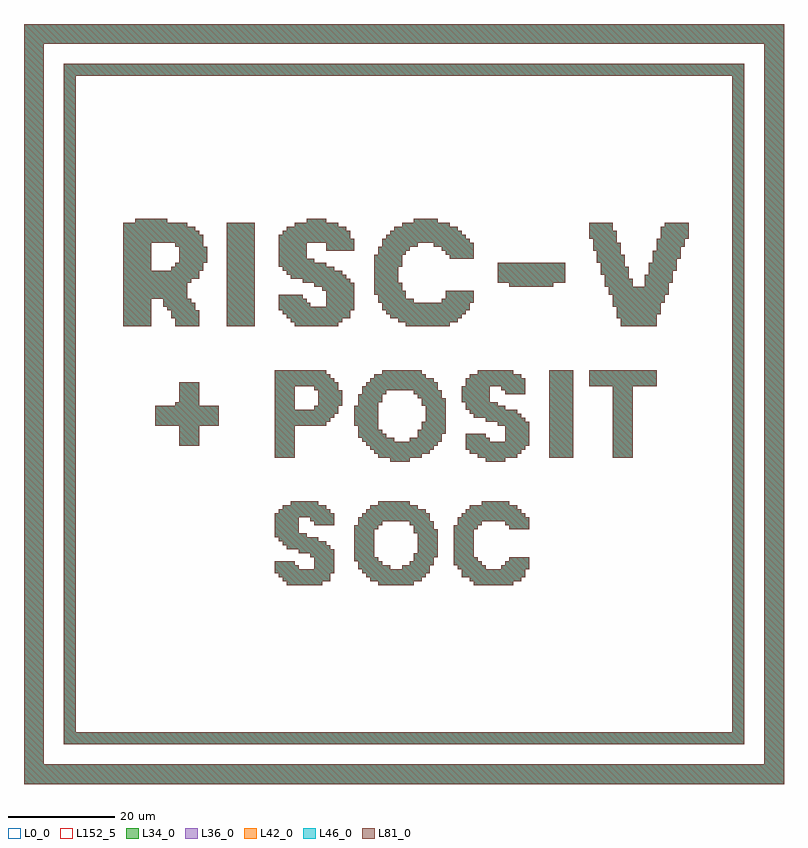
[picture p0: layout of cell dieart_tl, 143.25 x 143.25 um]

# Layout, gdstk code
import gdstk
lib = gdstk.Library(unit=1e-6, precision=1e-09)
def R(c, l, rs):  # rectangles x0, y0, x1, y1
    for r in rs: c.add(gdstk.rectangle(r[:2], r[2:], *l))
def A(c, l, x, y, w, h, nx, ny, dx, dy):  # array of equal rectangles
    R(c, l, [(x+i*dx, y+j*dy, x+i*dx+w, y+j*dy+h) for i in range(nx) for j in range(ny)])
L0_0 = (0, 0)
L34_0 = (34, 0)
L36_0 = (36, 0)
L42_0 = (42, 0)
L46_0 = (46, 0)
L81_0 = (81, 0)
L152_5 = (152, 5)

dieart_tl = lib.new_cell('dieart_tl')
R(dieart_tl, L0_0, [(0,0,143.25,143.25)])
A(dieart_tl, L34_0, 72.75, 48.75, 4.5, 0.75, 3, 1, 9, 0)
R(dieart_tl, L34_0, [(0,0,143.25,3.75), (0,3.75,3.75,139.5), (139.5,3.75,143.25,139.5), (7.5,7.5,135.75,9.75), (7.5,9.75,9.75,133.5), (133.5,9.75,135.75,133.5), (49.5,37.5,56.25,38.25), (66.75,37.5,73.5,38.25), (84.75,37.5,92.25,38.25), (48.75,38.25,57.75,39), (65.25,38.25,75,39), (84,38.25,93.75,39), (48,39,57.75,39.75), (64.5,39,75.75,39.75), (82.5,39,94.5,40.5), (47.25,39.75,58.5,40.5), (63.75,39.75,76.5,40.5), (47.25,40.5,51.75,41.25), (54.75,40.5,58.5,42.75), (63,40.5,69,41.25), (71.25,40.5,76.5,41.25), (81.75,40.5,87,41.25), (90,40.5,95.25,41.25), (47.25,41.25,51,42), (63,41.25,67.5,42), (72.75,41.25,77.25,42), (81,41.25,86.25,42), (90.75,41.25,95.25,42), (62.25,42,66.75,42.75), (73.5,42,77.25,42.75), (81,42,85.5,42.75), (91.5,42,95.25,42.75), (54,42.75,58.5,43.5), (62.25,42.75,66,48), (73.5,42.75,78,43.5), (81,42.75,84.75,48), (51.75,43.5,58.5,44.25), (74.25,43.5,78,47.25), (49.5,44.25,57.75,45), (48.75,45,57,45.75), (48,45.75,55.5,46.5), (47.25,46.5,53.25,47.25), (47.25,47.25,51.75,50.25), (73.5,47.25,78,48), (62.25,48,66.75,48.75), (73.5,48,77.25,48.75), (81,48,85.5,48.75), (91.5,48,95.25,48.75), (54.75,48.75,58.5,49.5), (63,48.75,67.5,49.5), (54,49.5,58.5,50.25), (63,49.5,76.5,50.25), (81.75,49.5,95.25,50.25), (47.25,50.25,58.5,51), (63.75,50.25,76.5,51), (82.5,50.25,94.5,51), (48,51,57.75,51.75), (64.5,51,75.75,51.75), (83.25,51,93.75,51.75), (48.75,51.75,57,52.5), (65.25,51.75,74.25,52.5), (84,51.75,93,52.5), (50.25,52.5,55.5,53.25), (66.75,52.5,72.75,53.25), (86.25,52.5,91.5,53.25), (69,60.75,72.75,61.5), (87,60.75,90.75,61.5), (47.25,61.5,51,67.5), (66.75,61.5,75,62.25), (85.5,61.5,93,62.25), (99,61.5,103.5,78), (111,61.5,114.75,75), (66,62.25,76.5,63), (84,62.25,93.75,63), (65.25,63,77.25,63.75), (83.25,63,94.5,63.75), (29.25,63.75,33,67.5), (64.5,63.75,78,64.5), (83.25,63.75,95.25,64.5), (63.75,64.5,69.75,65.25), (72.75,64.5,78.75,65.25), (83.25,64.5,87.75,65.25), (90.75,64.5,95.25,67.5), (63,65.25,68.25,66), (74.25,65.25,78.75,66), (83.25,65.25,87,66), (63,66,67.5,66.75), (74.25,66,79.5,66.75), (63,66.75,66.75,67.5), (75,66.75,79.5,68.25), (24.75,67.5,36.75,71.25), (47.25,67.5,57,68.25), (62.25,67.5,66.75,71.25), (89.25,67.5,95.25,68.25), (47.25,68.25,57.75,69), (75.75,68.25,79.5,71.25), (87,68.25,94.5,69), (47.25,69,58.5,69.75), (84.75,69,93.75,69.75), (47.25,69.75,59.25,70.5), (84,69.75,93,70.5), (47.25,70.5,51,75), (54.75,70.5,59.25,71.25), (83.25,70.5,90.75,71.25), (28.5,71.25,33,72), (55.5,71.25,60,74.25), (63,71.25,66.75,72), (75,71.25,79.5,72.75), (83.25,71.25,89.25,72), (29.25,72,33,75.75), (63,72,67.5,73.5), (82.5,72,87.75,75), (74.25,72.75,78.75,73.5), (63.75,73.5,68.25,74.25), (73.5,73.5,78.75,74.25), (90.75,73.5,94.5,74.25), (54.75,74.25,59.25,75), (63.75,74.25,78,75), (90,74.25,94.5,75), (47.25,75,59.25,75.75), (64.5,75,78,75.75), (83.25,75,94.5,76.5), (106.5,75,119.25,78), (47.25,75.75,58.5,76.5), (65.25,75.75,77.25,76.5), (47.25,76.5,57.75,77.25), (66,76.5,75.75,77.25), (84,76.5,93.75,77.25), (47.25,77.25,57,78), (67.5,77.25,75,78), (85.5,77.25,92.25,78), (18.75,86.25,24,91.5), (28.5,86.25,33,87.75), (38.25,86.25,43.5,105.75), (51,86.25,59.25,87), (72,86.25,80.25,87), (112.5,86.25,119.25,87.75), (50.25,87,60,87.75), (70.5,87,81.75,87.75), (27.75,87.75,33,89.25), (49.5,87.75,61.5,88.5), (69,87.75,82.5,88.5), (111.75,87.75,119.25,88.5), (48.75,88.5,61.5,89.25), (68.25,88.5,83.25,89.25), (111.75,88.5,120,90), (27,89.25,32.25,90), (48,89.25,62.25,90), (67.5,89.25,84,90.75), (26.25,90,32.25,90.75), (48,90,54,90.75), (57,90,62.25,93), (111,90,120,90.75), (26.25,90.75,31.5,91.5), (48,90.75,53.25,91.5), (66.75,90.75,73.5,91.5), (78.75,90.75,84.75,91.5), (111,90.75,120.75,92.25), (18.75,91.5,30.75,94.5), (48,91.5,52.5,92.25), (66.75,91.5,72,92.25), (79.5,91.5,84.75,93), (66,92.25,72,93), (110.25,92.25,121.5,93.75), (56.25,93,62.25,93.75), (66,93,71.25,94.5), (54.75,93.75,62.25,94.5), (91.5,93.75,99.75,94.5), (109.5,93.75,114.75,95.25), (117,93.75,121.5,94.5), (18.75,94.5,31.5,95.25), (52.5,94.5,61.5,95.25), (66,94.5,70.5,97.5), (89.25,94.5,102,98.25), (117,94.5,122.25,96), (18.75,95.25,33,96.75), (50.25,95.25,60.75,96), (109.5,95.25,114,96), (49.5,96,60,96.75), (108.75,96,114,97.5), (117.75,96,122.25,96.75), (18.75,96.75,24,102), (27.75,96.75,33.75,97.5), (48.75,96.75,58.5,97.5), (117.75,96.75,123,98.25), (28.5,97.5,33.75,98.25), (48,97.5,57,98.25), (66,97.5,71.25,99.75), (108.75,97.5,113.25,98.25), (29.25,98.25,34.5,101.25), (48,98.25,54.75,99), (108,98.25,113.25,99.75), (118.5,98.25,123,99), (48,99,53.25,102), (80.25,99,84.75,99.75), (118.5,99,123.75,100.5), (66.75,99.75,72,100.5), (79.5,99.75,84.75,100.5), (108,99.75,112.5,100.5), (57,100.5,62.25,102), (66.75,100.5,72.75,101.25), (78.75,100.5,84.75,101.25), (107.25,100.5,112.5,102), (119.25,100.5,123.75,101.25), (28.5,101.25,33.75,102), (67.5,101.25,74.25,102), (77.25,101.25,84.75,102), (119.25,101.25,124.5,102.75), (18.75,102,33.75,103.5), (48,102,62.25,102.75), (67.5,102,84,102.75), (107.25,102,111.75,102.75), (48,102.75,61.5,103.5), (68.25,102.75,83.25,103.5), (106.5,102.75,111.75,104.25), (120,102.75,125.25,105), (18.75,103.5,33,104.25), (48.75,103.5,61.5,104.25), (69,103.5,82.5,104.25), (18.75,104.25,32.25,105), (49.5,104.25,60.75,105), (69.75,104.25,81.75,105), (106.5,104.25,111,105.75), (18.75,105,30.75,105.75), (51,105,59.25,105.75), (71.25,105,80.25,105.75), (120.75,105,125.25,105.75), (21,105.75,27,106.5), (53.25,105.75,57,106.5), (73.5,105.75,78,106.5), (7.5,133.5,135.75,135.75), (0,139.5,143.25,143.25)])
A(dieart_tl, L36_0, 72.75, 48.75, 4.5, 0.75, 3, 1, 9, 0)
R(dieart_tl, L36_0, [(0,0,143.25,3.75), (0,3.75,3.75,139.5), (139.5,3.75,143.25,139.5), (7.5,7.5,135.75,9.75), (7.5,9.75,9.75,133.5), (133.5,9.75,135.75,133.5), (49.5,37.5,56.25,38.25), (66.75,37.5,73.5,38.25), (84.75,37.5,92.25,38.25), (48.75,38.25,57.75,39), (65.25,38.25,75,39), (84,38.25,93.75,39), (48,39,57.75,39.75), (64.5,39,75.75,39.75), (82.5,39,94.5,40.5), (47.25,39.75,58.5,40.5), (63.75,39.75,76.5,40.5), (47.25,40.5,51.75,41.25), (54.75,40.5,58.5,42.75), (63,40.5,69,41.25), (71.25,40.5,76.5,41.25), (81.75,40.5,87,41.25), (90,40.5,95.25,41.25), (47.25,41.25,51,42), (63,41.25,67.5,42), (72.75,41.25,77.25,42), (81,41.25,86.25,42), (90.75,41.25,95.25,42), (62.25,42,66.75,42.75), (73.5,42,77.25,42.75), (81,42,85.5,42.75), (91.5,42,95.25,42.75), (54,42.75,58.5,43.5), (62.25,42.75,66,48), (73.5,42.75,78,43.5), (81,42.75,84.75,48), (51.75,43.5,58.5,44.25), (74.25,43.5,78,47.25), (49.5,44.25,57.75,45), (48.75,45,57,45.75), (48,45.75,55.5,46.5), (47.25,46.5,53.25,47.25), (47.25,47.25,51.75,50.25), (73.5,47.25,78,48), (62.25,48,66.75,48.75), (73.5,48,77.25,48.75), (81,48,85.5,48.75), (91.5,48,95.25,48.75), (54.75,48.75,58.5,49.5), (63,48.75,67.5,49.5), (54,49.5,58.5,50.25), (63,49.5,76.5,50.25), (81.75,49.5,95.25,50.25), (47.25,50.25,58.5,51), (63.75,50.25,76.5,51), (82.5,50.25,94.5,51), (48,51,57.75,51.75), (64.5,51,75.75,51.75), (83.25,51,93.75,51.75), (48.75,51.75,57,52.5), (65.25,51.75,74.25,52.5), (84,51.75,93,52.5), (50.25,52.5,55.5,53.25), (66.75,52.5,72.75,53.25), (86.25,52.5,91.5,53.25), (69,60.75,72.75,61.5), (87,60.75,90.75,61.5), (47.25,61.5,51,67.5), (66.75,61.5,75,62.25), (85.5,61.5,93,62.25), (99,61.5,103.5,78), (111,61.5,114.75,75), (66,62.25,76.5,63), (84,62.25,93.75,63), (65.25,63,77.25,63.75), (83.25,63,94.5,63.75), (29.25,63.75,33,67.5), (64.5,63.75,78,64.5), (83.25,63.75,95.25,64.5), (63.75,64.5,69.75,65.25), (72.75,64.5,78.75,65.25), (83.25,64.5,87.75,65.25), (90.75,64.5,95.25,67.5), (63,65.25,68.25,66), (74.25,65.25,78.75,66), (83.25,65.25,87,66), (63,66,67.5,66.75), (74.25,66,79.5,66.75), (63,66.75,66.75,67.5), (75,66.75,79.5,68.25), (24.75,67.5,36.75,71.25), (47.25,67.5,57,68.25), (62.25,67.5,66.75,71.25), (89.25,67.5,95.25,68.25), (47.25,68.25,57.75,69), (75.75,68.25,79.5,71.25), (87,68.25,94.5,69), (47.25,69,58.5,69.75), (84.75,69,93.75,69.75), (47.25,69.75,59.25,70.5), (84,69.75,93,70.5), (47.25,70.5,51,75), (54.75,70.5,59.25,71.25), (83.25,70.5,90.75,71.25), (28.5,71.25,33,72), (55.5,71.25,60,74.25), (63,71.25,66.75,72), (75,71.25,79.5,72.75), (83.25,71.25,89.25,72), (29.25,72,33,75.75), (63,72,67.5,73.5), (82.5,72,87.75,75), (74.25,72.75,78.75,73.5), (63.75,73.5,68.25,74.25), (73.5,73.5,78.75,74.25), (90.75,73.5,94.5,74.25), (54.75,74.25,59.25,75), (63.75,74.25,78,75), (90,74.25,94.5,75), (47.25,75,59.25,75.75), (64.5,75,78,75.75), (83.25,75,94.5,76.5), (106.5,75,119.25,78), (47.25,75.75,58.5,76.5), (65.25,75.75,77.25,76.5), (47.25,76.5,57.75,77.25), (66,76.5,75.75,77.25), (84,76.5,93.75,77.25), (47.25,77.25,57,78), (67.5,77.25,75,78), (85.5,77.25,92.25,78), (18.75,86.25,24,91.5), (28.5,86.25,33,87.75), (38.25,86.25,43.5,105.75), (51,86.25,59.25,87), (72,86.25,80.25,87), (112.5,86.25,119.25,87.75), (50.25,87,60,87.75), (70.5,87,81.75,87.75), (27.75,87.75,33,89.25), (49.5,87.75,61.5,88.5), (69,87.75,82.5,88.5), (111.75,87.75,119.25,88.5), (48.75,88.5,61.5,89.25), (68.25,88.5,83.25,89.25), (111.75,88.5,120,90), (27,89.25,32.25,90), (48,89.25,62.25,90), (67.5,89.25,84,90.75), (26.25,90,32.25,90.75), (48,90,54,90.75), (57,90,62.25,93), (111,90,120,90.75), (26.25,90.75,31.5,91.5), (48,90.75,53.25,91.5), (66.75,90.75,73.5,91.5), (78.75,90.75,84.75,91.5), (111,90.75,120.75,92.25), (18.75,91.5,30.75,94.5), (48,91.5,52.5,92.25), (66.75,91.5,72,92.25), (79.5,91.5,84.75,93), (66,92.25,72,93), (110.25,92.25,121.5,93.75), (56.25,93,62.25,93.75), (66,93,71.25,94.5), (54.75,93.75,62.25,94.5), (91.5,93.75,99.75,94.5), (109.5,93.75,114.75,95.25), (117,93.75,121.5,94.5), (18.75,94.5,31.5,95.25), (52.5,94.5,61.5,95.25), (66,94.5,70.5,97.5), (89.25,94.5,102,98.25), (117,94.5,122.25,96), (18.75,95.25,33,96.75), (50.25,95.25,60.75,96), (109.5,95.25,114,96), (49.5,96,60,96.75), (108.75,96,114,97.5), (117.75,96,122.25,96.75), (18.75,96.75,24,102), (27.75,96.75,33.75,97.5), (48.75,96.75,58.5,97.5), (117.75,96.75,123,98.25), (28.5,97.5,33.75,98.25), (48,97.5,57,98.25), (66,97.5,71.25,99.75), (108.75,97.5,113.25,98.25), (29.25,98.25,34.5,101.25), (48,98.25,54.75,99), (108,98.25,113.25,99.75), (118.5,98.25,123,99), (48,99,53.25,102), (80.25,99,84.75,99.75), (118.5,99,123.75,100.5), (66.75,99.75,72,100.5), (79.5,99.75,84.75,100.5), (108,99.75,112.5,100.5), (57,100.5,62.25,102), (66.75,100.5,72.75,101.25), (78.75,100.5,84.75,101.25), (107.25,100.5,112.5,102), (119.25,100.5,123.75,101.25), (28.5,101.25,33.75,102), (67.5,101.25,74.25,102), (77.25,101.25,84.75,102), (119.25,101.25,124.5,102.75), (18.75,102,33.75,103.5), (48,102,62.25,102.75), (67.5,102,84,102.75), (107.25,102,111.75,102.75), (48,102.75,61.5,103.5), (68.25,102.75,83.25,103.5), (106.5,102.75,111.75,104.25), (120,102.75,125.25,105), (18.75,103.5,33,104.25), (48.75,103.5,61.5,104.25), (69,103.5,82.5,104.25), (18.75,104.25,32.25,105), (49.5,104.25,60.75,105), (69.75,104.25,81.75,105), (106.5,104.25,111,105.75), (18.75,105,30.75,105.75), (51,105,59.25,105.75), (71.25,105,80.25,105.75), (120.75,105,125.25,105.75), (21,105.75,27,106.5), (53.25,105.75,57,106.5), (73.5,105.75,78,106.5), (7.5,133.5,135.75,135.75), (0,139.5,143.25,143.25)])
A(dieart_tl, L42_0, 72.75, 48.75, 4.5, 0.75, 3, 1, 9, 0)
R(dieart_tl, L42_0, [(0,0,143.25,3.75), (0,3.75,3.75,139.5), (139.5,3.75,143.25,139.5), (7.5,7.5,135.75,9.75), (7.5,9.75,9.75,133.5), (133.5,9.75,135.75,133.5), (49.5,37.5,56.25,38.25), (66.75,37.5,73.5,38.25), (84.75,37.5,92.25,38.25), (48.75,38.25,57.75,39), (65.25,38.25,75,39), (84,38.25,93.75,39), (48,39,57.75,39.75), (64.5,39,75.75,39.75), (82.5,39,94.5,40.5), (47.25,39.75,58.5,40.5), (63.75,39.75,76.5,40.5), (47.25,40.5,51.75,41.25), (54.75,40.5,58.5,42.75), (63,40.5,69,41.25), (71.25,40.5,76.5,41.25), (81.75,40.5,87,41.25), (90,40.5,95.25,41.25), (47.25,41.25,51,42), (63,41.25,67.5,42), (72.75,41.25,77.25,42), (81,41.25,86.25,42), (90.75,41.25,95.25,42), (62.25,42,66.75,42.75), (73.5,42,77.25,42.75), (81,42,85.5,42.75), (91.5,42,95.25,42.75), (54,42.75,58.5,43.5), (62.25,42.75,66,48), (73.5,42.75,78,43.5), (81,42.75,84.75,48), (51.75,43.5,58.5,44.25), (74.25,43.5,78,47.25), (49.5,44.25,57.75,45), (48.75,45,57,45.75), (48,45.75,55.5,46.5), (47.25,46.5,53.25,47.25), (47.25,47.25,51.75,50.25), (73.5,47.25,78,48), (62.25,48,66.75,48.75), (73.5,48,77.25,48.75), (81,48,85.5,48.75), (91.5,48,95.25,48.75), (54.75,48.75,58.5,49.5), (63,48.75,67.5,49.5), (54,49.5,58.5,50.25), (63,49.5,76.5,50.25), (81.75,49.5,95.25,50.25), (47.25,50.25,58.5,51), (63.75,50.25,76.5,51), (82.5,50.25,94.5,51), (48,51,57.75,51.75), (64.5,51,75.75,51.75), (83.25,51,93.75,51.75), (48.75,51.75,57,52.5), (65.25,51.75,74.25,52.5), (84,51.75,93,52.5), (50.25,52.5,55.5,53.25), (66.75,52.5,72.75,53.25), (86.25,52.5,91.5,53.25), (69,60.75,72.75,61.5), (87,60.75,90.75,61.5), (47.25,61.5,51,67.5), (66.75,61.5,75,62.25), (85.5,61.5,93,62.25), (99,61.5,103.5,78), (111,61.5,114.75,75), (66,62.25,76.5,63), (84,62.25,93.75,63), (65.25,63,77.25,63.75), (83.25,63,94.5,63.75), (29.25,63.75,33,67.5), (64.5,63.75,78,64.5), (83.25,63.75,95.25,64.5), (63.75,64.5,69.75,65.25), (72.75,64.5,78.75,65.25), (83.25,64.5,87.75,65.25), (90.75,64.5,95.25,67.5), (63,65.25,68.25,66), (74.25,65.25,78.75,66), (83.25,65.25,87,66), (63,66,67.5,66.75), (74.25,66,79.5,66.75), (63,66.75,66.75,67.5), (75,66.75,79.5,68.25), (24.75,67.5,36.75,71.25), (47.25,67.5,57,68.25), (62.25,67.5,66.75,71.25), (89.25,67.5,95.25,68.25), (47.25,68.25,57.75,69), (75.75,68.25,79.5,71.25), (87,68.25,94.5,69), (47.25,69,58.5,69.75), (84.75,69,93.75,69.75), (47.25,69.75,59.25,70.5), (84,69.75,93,70.5), (47.25,70.5,51,75), (54.75,70.5,59.25,71.25), (83.25,70.5,90.75,71.25), (28.5,71.25,33,72), (55.5,71.25,60,74.25), (63,71.25,66.75,72), (75,71.25,79.5,72.75), (83.25,71.25,89.25,72), (29.25,72,33,75.75), (63,72,67.5,73.5), (82.5,72,87.75,75), (74.25,72.75,78.75,73.5), (63.75,73.5,68.25,74.25), (73.5,73.5,78.75,74.25), (90.75,73.5,94.5,74.25), (54.75,74.25,59.25,75), (63.75,74.25,78,75), (90,74.25,94.5,75), (47.25,75,59.25,75.75), (64.5,75,78,75.75), (83.25,75,94.5,76.5), (106.5,75,119.25,78), (47.25,75.75,58.5,76.5), (65.25,75.75,77.25,76.5), (47.25,76.5,57.75,77.25), (66,76.5,75.75,77.25), (84,76.5,93.75,77.25), (47.25,77.25,57,78), (67.5,77.25,75,78), (85.5,77.25,92.25,78), (18.75,86.25,24,91.5), (28.5,86.25,33,87.75), (38.25,86.25,43.5,105.75), (51,86.25,59.25,87), (72,86.25,80.25,87), (112.5,86.25,119.25,87.75), (50.25,87,60,87.75), (70.5,87,81.75,87.75), (27.75,87.75,33,89.25), (49.5,87.75,61.5,88.5), (69,87.75,82.5,88.5), (111.75,87.75,119.25,88.5), (48.75,88.5,61.5,89.25), (68.25,88.5,83.25,89.25), (111.75,88.5,120,90), (27,89.25,32.25,90), (48,89.25,62.25,90), (67.5,89.25,84,90.75), (26.25,90,32.25,90.75), (48,90,54,90.75), (57,90,62.25,93), (111,90,120,90.75), (26.25,90.75,31.5,91.5), (48,90.75,53.25,91.5), (66.75,90.75,73.5,91.5), (78.75,90.75,84.75,91.5), (111,90.75,120.75,92.25), (18.75,91.5,30.75,94.5), (48,91.5,52.5,92.25), (66.75,91.5,72,92.25), (79.5,91.5,84.75,93), (66,92.25,72,93), (110.25,92.25,121.5,93.75), (56.25,93,62.25,93.75), (66,93,71.25,94.5), (54.75,93.75,62.25,94.5), (91.5,93.75,99.75,94.5), (109.5,93.75,114.75,95.25), (117,93.75,121.5,94.5), (18.75,94.5,31.5,95.25), (52.5,94.5,61.5,95.25), (66,94.5,70.5,97.5), (89.25,94.5,102,98.25), (117,94.5,122.25,96), (18.75,95.25,33,96.75), (50.25,95.25,60.75,96), (109.5,95.25,114,96), (49.5,96,60,96.75), (108.75,96,114,97.5), (117.75,96,122.25,96.75), (18.75,96.75,24,102), (27.75,96.75,33.75,97.5), (48.75,96.75,58.5,97.5), (117.75,96.75,123,98.25), (28.5,97.5,33.75,98.25), (48,97.5,57,98.25), (66,97.5,71.25,99.75), (108.75,97.5,113.25,98.25), (29.25,98.25,34.5,101.25), (48,98.25,54.75,99), (108,98.25,113.25,99.75), (118.5,98.25,123,99), (48,99,53.25,102), (80.25,99,84.75,99.75), (118.5,99,123.75,100.5), (66.75,99.75,72,100.5), (79.5,99.75,84.75,100.5), (108,99.75,112.5,100.5), (57,100.5,62.25,102), (66.75,100.5,72.75,101.25), (78.75,100.5,84.75,101.25), (107.25,100.5,112.5,102), (119.25,100.5,123.75,101.25), (28.5,101.25,33.75,102), (67.5,101.25,74.25,102), (77.25,101.25,84.75,102), (119.25,101.25,124.5,102.75), (18.75,102,33.75,103.5), (48,102,62.25,102.75), (67.5,102,84,102.75), (107.25,102,111.75,102.75), (48,102.75,61.5,103.5), (68.25,102.75,83.25,103.5), (106.5,102.75,111.75,104.25), (120,102.75,125.25,105), (18.75,103.5,33,104.25), (48.75,103.5,61.5,104.25), (69,103.5,82.5,104.25), (18.75,104.25,32.25,105), (49.5,104.25,60.75,105), (69.75,104.25,81.75,105), (106.5,104.25,111,105.75), (18.75,105,30.75,105.75), (51,105,59.25,105.75), (71.25,105,80.25,105.75), (120.75,105,125.25,105.75), (21,105.75,27,106.5), (53.25,105.75,57,106.5), (73.5,105.75,78,106.5), (7.5,133.5,135.75,135.75), (0,139.5,143.25,143.25)])
A(dieart_tl, L46_0, 72.75, 48.75, 4.5, 0.75, 3, 1, 9, 0)
R(dieart_tl, L46_0, [(0,0,143.25,3.75), (0,3.75,3.75,139.5), (139.5,3.75,143.25,139.5), (7.5,7.5,135.75,9.75), (7.5,9.75,9.75,133.5), (133.5,9.75,135.75,133.5), (49.5,37.5,56.25,38.25), (66.75,37.5,73.5,38.25), (84.75,37.5,92.25,38.25), (48.75,38.25,57.75,39), (65.25,38.25,75,39), (84,38.25,93.75,39), (48,39,57.75,39.75), (64.5,39,75.75,39.75), (82.5,39,94.5,40.5), (47.25,39.75,58.5,40.5), (63.75,39.75,76.5,40.5), (47.25,40.5,51.75,41.25), (54.75,40.5,58.5,42.75), (63,40.5,69,41.25), (71.25,40.5,76.5,41.25), (81.75,40.5,87,41.25), (90,40.5,95.25,41.25), (47.25,41.25,51,42), (63,41.25,67.5,42), (72.75,41.25,77.25,42), (81,41.25,86.25,42), (90.75,41.25,95.25,42), (62.25,42,66.75,42.75), (73.5,42,77.25,42.75), (81,42,85.5,42.75), (91.5,42,95.25,42.75), (54,42.75,58.5,43.5), (62.25,42.75,66,48), (73.5,42.75,78,43.5), (81,42.75,84.75,48), (51.75,43.5,58.5,44.25), (74.25,43.5,78,47.25), (49.5,44.25,57.75,45), (48.75,45,57,45.75), (48,45.75,55.5,46.5), (47.25,46.5,53.25,47.25), (47.25,47.25,51.75,50.25), (73.5,47.25,78,48), (62.25,48,66.75,48.75), (73.5,48,77.25,48.75), (81,48,85.5,48.75), (91.5,48,95.25,48.75), (54.75,48.75,58.5,49.5), (63,48.75,67.5,49.5), (54,49.5,58.5,50.25), (63,49.5,76.5,50.25), (81.75,49.5,95.25,50.25), (47.25,50.25,58.5,51), (63.75,50.25,76.5,51), (82.5,50.25,94.5,51), (48,51,57.75,51.75), (64.5,51,75.75,51.75), (83.25,51,93.75,51.75), (48.75,51.75,57,52.5), (65.25,51.75,74.25,52.5), (84,51.75,93,52.5), (50.25,52.5,55.5,53.25), (66.75,52.5,72.75,53.25), (86.25,52.5,91.5,53.25), (69,60.75,72.75,61.5), (87,60.75,90.75,61.5), (47.25,61.5,51,67.5), (66.75,61.5,75,62.25), (85.5,61.5,93,62.25), (99,61.5,103.5,78), (111,61.5,114.75,75), (66,62.25,76.5,63), (84,62.25,93.75,63), (65.25,63,77.25,63.75), (83.25,63,94.5,63.75), (29.25,63.75,33,67.5), (64.5,63.75,78,64.5), (83.25,63.75,95.25,64.5), (63.75,64.5,69.75,65.25), (72.75,64.5,78.75,65.25), (83.25,64.5,87.75,65.25), (90.75,64.5,95.25,67.5), (63,65.25,68.25,66), (74.25,65.25,78.75,66), (83.25,65.25,87,66), (63,66,67.5,66.75), (74.25,66,79.5,66.75), (63,66.75,66.75,67.5), (75,66.75,79.5,68.25), (24.75,67.5,36.75,71.25), (47.25,67.5,57,68.25), (62.25,67.5,66.75,71.25), (89.25,67.5,95.25,68.25), (47.25,68.25,57.75,69), (75.75,68.25,79.5,71.25), (87,68.25,94.5,69), (47.25,69,58.5,69.75), (84.75,69,93.75,69.75), (47.25,69.75,59.25,70.5), (84,69.75,93,70.5), (47.25,70.5,51,75), (54.75,70.5,59.25,71.25), (83.25,70.5,90.75,71.25), (28.5,71.25,33,72), (55.5,71.25,60,74.25), (63,71.25,66.75,72), (75,71.25,79.5,72.75), (83.25,71.25,89.25,72), (29.25,72,33,75.75), (63,72,67.5,73.5), (82.5,72,87.75,75), (74.25,72.75,78.75,73.5), (63.75,73.5,68.25,74.25), (73.5,73.5,78.75,74.25), (90.75,73.5,94.5,74.25), (54.75,74.25,59.25,75), (63.75,74.25,78,75), (90,74.25,94.5,75), (47.25,75,59.25,75.75), (64.5,75,78,75.75), (83.25,75,94.5,76.5), (106.5,75,119.25,78), (47.25,75.75,58.5,76.5), (65.25,75.75,77.25,76.5), (47.25,76.5,57.75,77.25), (66,76.5,75.75,77.25), (84,76.5,93.75,77.25), (47.25,77.25,57,78), (67.5,77.25,75,78), (85.5,77.25,92.25,78), (18.75,86.25,24,91.5), (28.5,86.25,33,87.75), (38.25,86.25,43.5,105.75), (51,86.25,59.25,87), (72,86.25,80.25,87), (112.5,86.25,119.25,87.75), (50.25,87,60,87.75), (70.5,87,81.75,87.75), (27.75,87.75,33,89.25), (49.5,87.75,61.5,88.5), (69,87.75,82.5,88.5), (111.75,87.75,119.25,88.5), (48.75,88.5,61.5,89.25), (68.25,88.5,83.25,89.25), (111.75,88.5,120,90), (27,89.25,32.25,90), (48,89.25,62.25,90), (67.5,89.25,84,90.75), (26.25,90,32.25,90.75), (48,90,54,90.75), (57,90,62.25,93), (111,90,120,90.75), (26.25,90.75,31.5,91.5), (48,90.75,53.25,91.5), (66.75,90.75,73.5,91.5), (78.75,90.75,84.75,91.5), (111,90.75,120.75,92.25), (18.75,91.5,30.75,94.5), (48,91.5,52.5,92.25), (66.75,91.5,72,92.25), (79.5,91.5,84.75,93), (66,92.25,72,93), (110.25,92.25,121.5,93.75), (56.25,93,62.25,93.75), (66,93,71.25,94.5), (54.75,93.75,62.25,94.5), (91.5,93.75,99.75,94.5), (109.5,93.75,114.75,95.25), (117,93.75,121.5,94.5), (18.75,94.5,31.5,95.25), (52.5,94.5,61.5,95.25), (66,94.5,70.5,97.5), (89.25,94.5,102,98.25), (117,94.5,122.25,96), (18.75,95.25,33,96.75), (50.25,95.25,60.75,96), (109.5,95.25,114,96), (49.5,96,60,96.75), (108.75,96,114,97.5), (117.75,96,122.25,96.75), (18.75,96.75,24,102), (27.75,96.75,33.75,97.5), (48.75,96.75,58.5,97.5), (117.75,96.75,123,98.25), (28.5,97.5,33.75,98.25), (48,97.5,57,98.25), (66,97.5,71.25,99.75), (108.75,97.5,113.25,98.25), (29.25,98.25,34.5,101.25), (48,98.25,54.75,99), (108,98.25,113.25,99.75), (118.5,98.25,123,99), (48,99,53.25,102), (80.25,99,84.75,99.75), (118.5,99,123.75,100.5), (66.75,99.75,72,100.5), (79.5,99.75,84.75,100.5), (108,99.75,112.5,100.5), (57,100.5,62.25,102), (66.75,100.5,72.75,101.25), (78.75,100.5,84.75,101.25), (107.25,100.5,112.5,102), (119.25,100.5,123.75,101.25), (28.5,101.25,33.75,102), (67.5,101.25,74.25,102), (77.25,101.25,84.75,102), (119.25,101.25,124.5,102.75), (18.75,102,33.75,103.5), (48,102,62.25,102.75), (67.5,102,84,102.75), (107.25,102,111.75,102.75), (48,102.75,61.5,103.5), (68.25,102.75,83.25,103.5), (106.5,102.75,111.75,104.25), (120,102.75,125.25,105), (18.75,103.5,33,104.25), (48.75,103.5,61.5,104.25), (69,103.5,82.5,104.25), (18.75,104.25,32.25,105), (49.5,104.25,60.75,105), (69.75,104.25,81.75,105), (106.5,104.25,111,105.75), (18.75,105,30.75,105.75), (51,105,59.25,105.75), (71.25,105,80.25,105.75), (120.75,105,125.25,105.75), (21,105.75,27,106.5), (53.25,105.75,57,106.5), (73.5,105.75,78,106.5), (7.5,133.5,135.75,135.75), (0,139.5,143.25,143.25)])
A(dieart_tl, L81_0, 72.75, 48.75, 4.5, 0.75, 3, 1, 9, 0)
R(dieart_tl, L81_0, [(0,0,143.25,3.75), (0,3.75,3.75,139.5), (139.5,3.75,143.25,139.5), (7.5,7.5,135.75,9.75), (7.5,9.75,9.75,133.5), (133.5,9.75,135.75,133.5), (49.5,37.5,56.25,38.25), (66.75,37.5,73.5,38.25), (84.75,37.5,92.25,38.25), (48.75,38.25,57.75,39), (65.25,38.25,75,39), (84,38.25,93.75,39), (48,39,57.75,39.75), (64.5,39,75.75,39.75), (82.5,39,94.5,40.5), (47.25,39.75,58.5,40.5), (63.75,39.75,76.5,40.5), (47.25,40.5,51.75,41.25), (54.75,40.5,58.5,42.75), (63,40.5,69,41.25), (71.25,40.5,76.5,41.25), (81.75,40.5,87,41.25), (90,40.5,95.25,41.25), (47.25,41.25,51,42), (63,41.25,67.5,42), (72.75,41.25,77.25,42), (81,41.25,86.25,42), (90.75,41.25,95.25,42), (62.25,42,66.75,42.75), (73.5,42,77.25,42.75), (81,42,85.5,42.75), (91.5,42,95.25,42.75), (54,42.75,58.5,43.5), (62.25,42.75,66,48), (73.5,42.75,78,43.5), (81,42.75,84.75,48), (51.75,43.5,58.5,44.25), (74.25,43.5,78,47.25), (49.5,44.25,57.75,45), (48.75,45,57,45.75), (48,45.75,55.5,46.5), (47.25,46.5,53.25,47.25), (47.25,47.25,51.75,50.25), (73.5,47.25,78,48), (62.25,48,66.75,48.75), (73.5,48,77.25,48.75), (81,48,85.5,48.75), (91.5,48,95.25,48.75), (54.75,48.75,58.5,49.5), (63,48.75,67.5,49.5), (54,49.5,58.5,50.25), (63,49.5,76.5,50.25), (81.75,49.5,95.25,50.25), (47.25,50.25,58.5,51), (63.75,50.25,76.5,51), (82.5,50.25,94.5,51), (48,51,57.75,51.75), (64.5,51,75.75,51.75), (83.25,51,93.75,51.75), (48.75,51.75,57,52.5), (65.25,51.75,74.25,52.5), (84,51.75,93,52.5), (50.25,52.5,55.5,53.25), (66.75,52.5,72.75,53.25), (86.25,52.5,91.5,53.25), (69,60.75,72.75,61.5), (87,60.75,90.75,61.5), (47.25,61.5,51,67.5), (66.75,61.5,75,62.25), (85.5,61.5,93,62.25), (99,61.5,103.5,78), (111,61.5,114.75,75), (66,62.25,76.5,63), (84,62.25,93.75,63), (65.25,63,77.25,63.75), (83.25,63,94.5,63.75), (29.25,63.75,33,67.5), (64.5,63.75,78,64.5), (83.25,63.75,95.25,64.5), (63.75,64.5,69.75,65.25), (72.75,64.5,78.75,65.25), (83.25,64.5,87.75,65.25), (90.75,64.5,95.25,67.5), (63,65.25,68.25,66), (74.25,65.25,78.75,66), (83.25,65.25,87,66), (63,66,67.5,66.75), (74.25,66,79.5,66.75), (63,66.75,66.75,67.5), (75,66.75,79.5,68.25), (24.75,67.5,36.75,71.25), (47.25,67.5,57,68.25), (62.25,67.5,66.75,71.25), (89.25,67.5,95.25,68.25), (47.25,68.25,57.75,69), (75.75,68.25,79.5,71.25), (87,68.25,94.5,69), (47.25,69,58.5,69.75), (84.75,69,93.75,69.75), (47.25,69.75,59.25,70.5), (84,69.75,93,70.5), (47.25,70.5,51,75), (54.75,70.5,59.25,71.25), (83.25,70.5,90.75,71.25), (28.5,71.25,33,72), (55.5,71.25,60,74.25), (63,71.25,66.75,72), (75,71.25,79.5,72.75), (83.25,71.25,89.25,72), (29.25,72,33,75.75), (63,72,67.5,73.5), (82.5,72,87.75,75), (74.25,72.75,78.75,73.5), (63.75,73.5,68.25,74.25), (73.5,73.5,78.75,74.25), (90.75,73.5,94.5,74.25), (54.75,74.25,59.25,75), (63.75,74.25,78,75), (90,74.25,94.5,75), (47.25,75,59.25,75.75), (64.5,75,78,75.75), (83.25,75,94.5,76.5), (106.5,75,119.25,78), (47.25,75.75,58.5,76.5), (65.25,75.75,77.25,76.5), (47.25,76.5,57.75,77.25), (66,76.5,75.75,77.25), (84,76.5,93.75,77.25), (47.25,77.25,57,78), (67.5,77.25,75,78), (85.5,77.25,92.25,78), (18.75,86.25,24,91.5), (28.5,86.25,33,87.75), (38.25,86.25,43.5,105.75), (51,86.25,59.25,87), (72,86.25,80.25,87), (112.5,86.25,119.25,87.75), (50.25,87,60,87.75), (70.5,87,81.75,87.75), (27.75,87.75,33,89.25), (49.5,87.75,61.5,88.5), (69,87.75,82.5,88.5), (111.75,87.75,119.25,88.5), (48.75,88.5,61.5,89.25), (68.25,88.5,83.25,89.25), (111.75,88.5,120,90), (27,89.25,32.25,90), (48,89.25,62.25,90), (67.5,89.25,84,90.75), (26.25,90,32.25,90.75), (48,90,54,90.75), (57,90,62.25,93), (111,90,120,90.75), (26.25,90.75,31.5,91.5), (48,90.75,53.25,91.5), (66.75,90.75,73.5,91.5), (78.75,90.75,84.75,91.5), (111,90.75,120.75,92.25), (18.75,91.5,30.75,94.5), (48,91.5,52.5,92.25), (66.75,91.5,72,92.25), (79.5,91.5,84.75,93), (66,92.25,72,93), (110.25,92.25,121.5,93.75), (56.25,93,62.25,93.75), (66,93,71.25,94.5), (54.75,93.75,62.25,94.5), (91.5,93.75,99.75,94.5), (109.5,93.75,114.75,95.25), (117,93.75,121.5,94.5), (18.75,94.5,31.5,95.25), (52.5,94.5,61.5,95.25), (66,94.5,70.5,97.5), (89.25,94.5,102,98.25), (117,94.5,122.25,96), (18.75,95.25,33,96.75), (50.25,95.25,60.75,96), (109.5,95.25,114,96), (49.5,96,60,96.75), (108.75,96,114,97.5), (117.75,96,122.25,96.75), (18.75,96.75,24,102), (27.75,96.75,33.75,97.5), (48.75,96.75,58.5,97.5), (117.75,96.75,123,98.25), (28.5,97.5,33.75,98.25), (48,97.5,57,98.25), (66,97.5,71.25,99.75), (108.75,97.5,113.25,98.25), (29.25,98.25,34.5,101.25), (48,98.25,54.75,99), (108,98.25,113.25,99.75), (118.5,98.25,123,99), (48,99,53.25,102), (80.25,99,84.75,99.75), (118.5,99,123.75,100.5), (66.75,99.75,72,100.5), (79.5,99.75,84.75,100.5), (108,99.75,112.5,100.5), (57,100.5,62.25,102), (66.75,100.5,72.75,101.25), (78.75,100.5,84.75,101.25), (107.25,100.5,112.5,102), (119.25,100.5,123.75,101.25), (28.5,101.25,33.75,102), (67.5,101.25,74.25,102), (77.25,101.25,84.75,102), (119.25,101.25,124.5,102.75), (18.75,102,33.75,103.5), (48,102,62.25,102.75), (67.5,102,84,102.75), (107.25,102,111.75,102.75), (48,102.75,61.5,103.5), (68.25,102.75,83.25,103.5), (106.5,102.75,111.75,104.25), (120,102.75,125.25,105), (18.75,103.5,33,104.25), (48.75,103.5,61.5,104.25), (69,103.5,82.5,104.25), (18.75,104.25,32.25,105), (49.5,104.25,60.75,105), (69.75,104.25,81.75,105), (106.5,104.25,111,105.75), (18.75,105,30.75,105.75), (51,105,59.25,105.75), (71.25,105,80.25,105.75), (120.75,105,125.25,105.75), (21,105.75,27,106.5), (53.25,105.75,57,106.5), (73.5,105.75,78,106.5), (7.5,133.5,135.75,135.75), (0,139.5,143.25,143.25)])
R(dieart_tl, L152_5, [(0,0,143.25,143.25)])

lib.write_gds('dieart_tl.gds')
